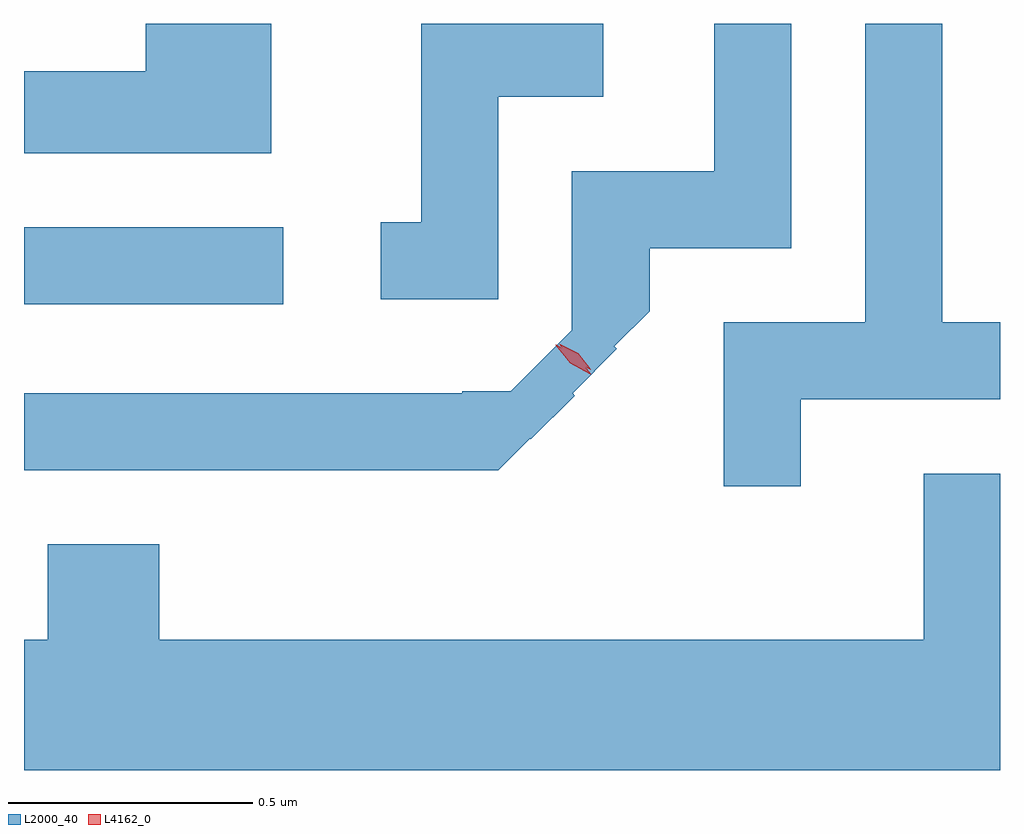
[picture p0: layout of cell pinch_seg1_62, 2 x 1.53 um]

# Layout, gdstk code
import gdstk
lib = gdstk.Library(unit=1e-6, precision=1e-09)
def R(c, l, rs):  # rectangles x0, y0, x1, y1
    for r in rs: c.add(gdstk.rectangle(r[:2], r[2:], *l))
def P(c, l, *ps):  # polygons
    for p in ps: c.add(gdstk.Polygon(p, *l))
L2000_40 = (2000, 40)
L4162_0 = (4162, 0)

pinch_seg1_62 = lib.new_cell('pinch_seg1_62')
R(pinch_seg1_62, L2000_40, [(1404.197,858.351,1404.728,858.509)])
P(pinch_seg1_62, L2000_40, [(1405.169,858.776),(1405.384,858.776),(1405.384,858.926),(1405.011,858.926),(1405.011,858.519),(1404.928,858.519),(1404.928,858.361),(1405.169,858.361)],
  [(1405.789,858.156),(1406.197,858.156),(1406.197,858.314),(1406.079,858.314),(1406.079,858.926),(1405.921,858.926),(1405.921,858.314),(1405.631,858.314),(1405.631,857.978),(1405.789,857.978)],
  [(1405.233,858.075),(1405.235,858.074),(1405.326,858.164),(1405.321,858.169),(1405.412,858.26),(1405.407,858.265),(1405.479,858.337),(1405.479,858.466),(1405.769,858.466),(1405.769,858.926),(1405.611,858.926),(1405.611,858.624),(1405.319,858.624),(1405.319,858.298),(1405.194,858.173),(1405.095,858.173),(1405.095,858.169),(1404.197,858.169),(1404.197,858.011),(1405.169,858.011)],
  [(1404.704,858.926),(1404.446,858.926),(1404.446,858.829),(1404.197,858.829),(1404.197,858.661),(1404.704,858.661)],
  [(1406.197,858.004),(1406.041,858.004),(1406.041,857.664),(1404.474,857.664),(1404.474,857.859),(1404.246,857.859),(1404.246,857.664),(1404.197,857.664),(1404.197,857.396),(1406.197,857.396)])
P(pinch_seg1_62, L4162_0, [(1405.358,858.217),(1405.32,858.235),(1405.295,858.268),(1405.295,858.269),(1405.296,858.269),(1405.333,858.251),(1405.358,858.218),(1405.358,858.217)],
  [(1405.357,858.208),(1405.316,858.23),(1405.287,858.267),(1405.287,858.268),(1405.288,858.268),(1405.329,858.246),(1405.358,858.209),(1405.358,858.208)])

lib.write_gds('pinch_seg1_62.gds')
